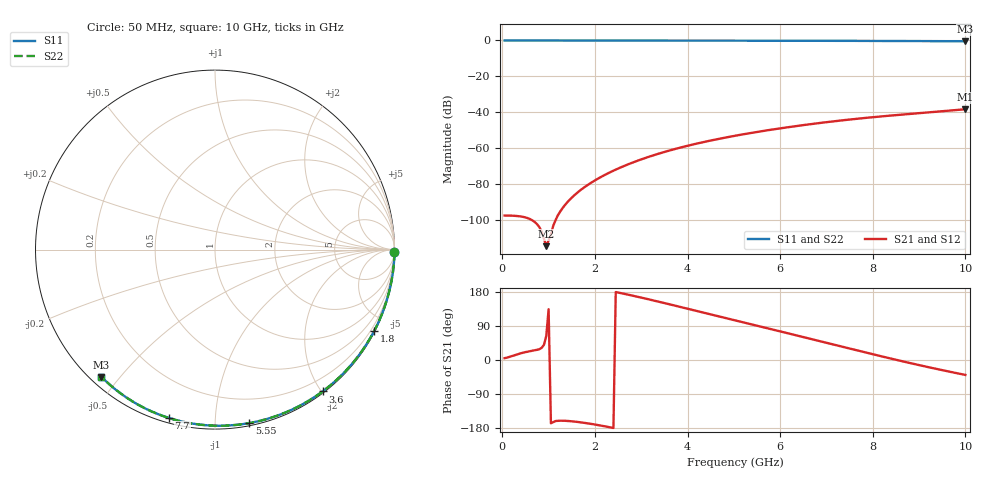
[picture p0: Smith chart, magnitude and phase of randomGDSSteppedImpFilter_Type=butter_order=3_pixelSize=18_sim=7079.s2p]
! freq	dB(S11)	phase(S11)	dB(S12)	phase(S12)
!  dB(S21)	phase(S21)	dB(S22)	phase(S22)
!S-par simulation data
#  GHz  S  DB  R 50
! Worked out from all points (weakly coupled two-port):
!   200 points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, 50 MHz to 10 GHz, reference 50 ohm
!   highest |S21| = -38.37 dB at 10 GHz (marker M1); lowest = -114.8 dB at 950 MHz (marker M2)
!   lowest |S11| = -0.4 dB at 10 GHz (marker M3), VSWR 39.23, Z = 1.53 - j22.4 ohm
!   |S11| at or under -10 dB: nowhere
!   |S22| runs from -0.4 to 0.0 dB; largest |S21 - S12| = 0
!   S11 on the Smith chart (normalised r, x): 50 MHz: open; 1.8 GHz: 0.04, -4.16; 3.6 GHz: 0.02, -2.01; 5.55 GHz: 0.02, -1.22; 7.7 GHz: 0.02, -0.76; 10 GHz: 0.03, -0.45
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0.05  -0.00 -0.8  -97.70 4.9  -97.70 4.9  -0.00 -0.8
0.5  -0.01 -7.6  -98.75 20.8  -98.75 20.8  -0.01 -7.6
0.95  -0.02 -14.4  -114.79 63.6  -114.79 63.6  -0.02 -14.4
1.75  -0.03 -26.3  -82.33 -165.5  -82.33 -165.5  -0.03 -26.3
1.8  -0.03 -27.0  -81.41 -166.4  -81.41 -166.4  -0.03 -27.0
1.85  -0.04 -27.7  -80.53 -167.3  -80.53 -167.3  -0.04 -27.7
1.9  -0.04 -28.5  -79.69 -168.2  -79.69 -168.2  -0.04 -28.5
2.05  -0.04 -30.7  -77.34 -171.3  -77.34 -171.3  -0.04 -30.7
2.25  -0.04 -33.6  -74.55 -175.8  -74.55 -175.8  -0.04 -33.6
2.65  -0.05 -39.4  -69.82 174.2  -69.82 174.2  -0.05 -39.4
3  -0.06 -44.4  -66.37 164.7  -66.37 164.7  -0.06 -44.4
3.4  -0.07 -50.0  -62.98 153.2  -62.98 153.2  -0.07 -50.0
3.6  -0.07 -52.8  -61.48 147.3  -61.48 147.3  -0.07 -52.8
4.3  -0.09 -62.4  -56.96 126.4  -56.96 126.4  -0.09 -62.4
5.05  -0.11 -72.4  -53.07 103.9  -53.07 103.9  -0.11 -72.4
5.55  -0.13 -78.9  -50.85 88.9  -50.85 88.9  -0.13 -78.9
6.1  -0.15 -85.8  -48.67 72.5  -48.67 72.5  -0.15 -85.8
6.7  -0.18 -93.3  -46.56 54.5  -46.56 54.5  -0.18 -93.3
7.7  -0.24 -105.3  -43.59 24.3  -43.59 24.3  -0.24 -105.3
8.35  -0.29 -112.9  -41.99 4.9  -41.99 4.9  -0.29 -112.9
9.15  -0.36 -122.1  -40.26 -17.6  -40.26 -17.6  -0.36 -122.1
10  -0.44 -131.7  -38.37 -39.4  -38.37 -39.4  -0.44 -131.7
